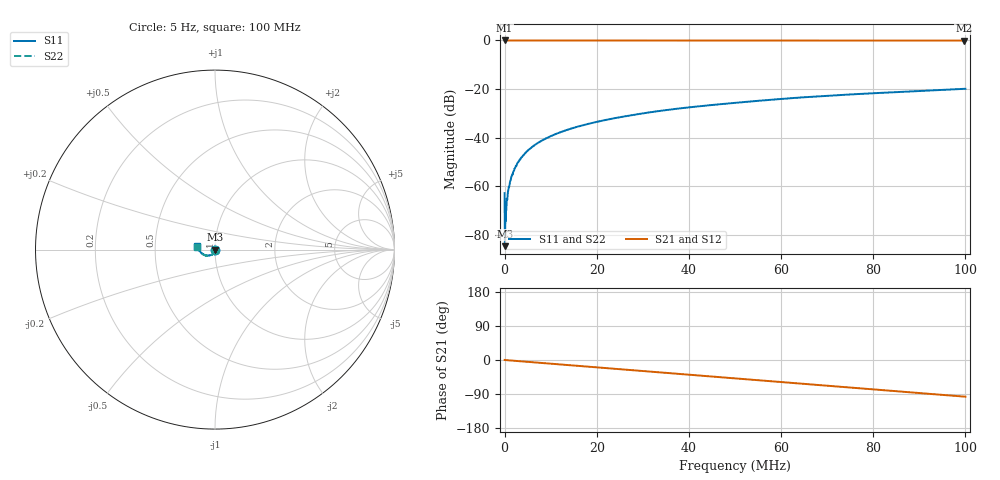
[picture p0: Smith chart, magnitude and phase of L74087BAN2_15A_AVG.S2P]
!Agilent Technologies,E5061B,MY49102235,A.02.00
!Date: Mon Jul 10 16:48:59 2023
!Data & Calibration Information:
!Freq	S11:SOLT2(ON)	S21:SOLT2(ON)	S12:SOLT2(ON)	S22:SOLT2(ON)
# Hz S RI R 50
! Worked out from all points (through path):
!   1600 points, 5 Hz to 100 MHz, reference 50 ohm
!   highest |S21| = 0.02 dB at 5 Hz (marker M1); lowest = 0.0 dB at 99.62 MHz (marker M2)
!   group delay of S21, straight-line fit = 2.69 ns
!   lowest |S11| = -84.6 dB at 62.54 kHz (marker M3), VSWR 1.00, Z = 50 - j0.00116 ohm
!   |S11| at or under -10 dB: start of sweep to end of sweep
!   |S22| runs from -81.4 to -19.8 dB; largest |S21 - S12| = 0.0027
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5  -0.000582 0.000433  1.002 0.00228  1.001 -1.03e-05  -7.37e-05 -4.31e-05
62544.08  -5.79e-05 -1.16e-05  1 -0.000967  1 -0.000639  1.19e-05 -0.000123
250161.3  2.06e-05 -0.000193  1 -0.0044  0.9999 -0.00418  1.12e-05 -0.000205
562856.8  0.000125 -0.000511  0.9998 -0.00969  0.9996 -0.00931  7.41e-05 -0.000539
687934.9  -2.48e-05 -0.000724  1 -0.0116  1 -0.0117  -3.12e-05 -0.000646
938091.3  -0.000157 -0.000972  0.9997 -0.0159  0.9994 -0.0153  -0.000132 -0.000992
1250787  -8.37e-05 -0.0013  0.9998 -0.0215  0.9991 -0.0208  -3.62e-05 -0.00127
1688560  -1.96e-05 -0.00179  1 -0.029  0.9995 -0.0283  -4.46e-05 -0.00178
2251412  -2.18e-05 -0.00239  0.9996 -0.0388  0.9992 -0.0378  -4.61e-05 -0.00242
2814264  -7.41e-05 -0.00302  0.9993 -0.0479  0.999 -0.0478  -0.000142 -0.00301
3689811  -0.000221 -0.00399  0.9981 -0.0626  0.9978 -0.0623  -0.000276 -0.004
5753601  -0.000507 -0.00623  0.9952 -0.0975  0.9951 -0.0971  -0.00056 -0.00617
8692938  -0.00127 -0.00929  0.989 -0.1468  0.989 -0.1463  -0.00138 -0.00918
1.250782e7  -0.00271 -0.0131  0.9774 -0.2102  0.9773 -0.21  -0.00268 -0.013
1.669794e7  -0.00493 -0.0171  0.9601 -0.2788  0.9601 -0.2786  -0.00475 -0.0171
2.445279e7  -0.0106 -0.0235  0.9154 -0.402  0.9151 -0.4019  -0.0103 -0.0239
3.333334e7  -0.0195 -0.0294  0.8445 -0.5343  0.8445 -0.534  -0.0189 -0.0302
5.003127e7  -0.0402 -0.0334  0.6616 -0.7479  0.6616 -0.7479  -0.0402 -0.0345
6.672921e7  -0.0644 -0.027  0.4267 -0.9016  0.4266 -0.9011  -0.0643 -0.0284
8.33646e7  -0.0848 -0.00882  0.159 -0.9831  0.159 -0.9828  -0.0851 -0.0108
9.962477e7  -0.0995 0.0195  -0.1127 -0.988  -0.1129 -0.9877  -0.1005 0.0165
1e8  -0.0997 0.0201  -0.119 -0.9874  -0.119 -0.9869  -0.1009 0.0172
